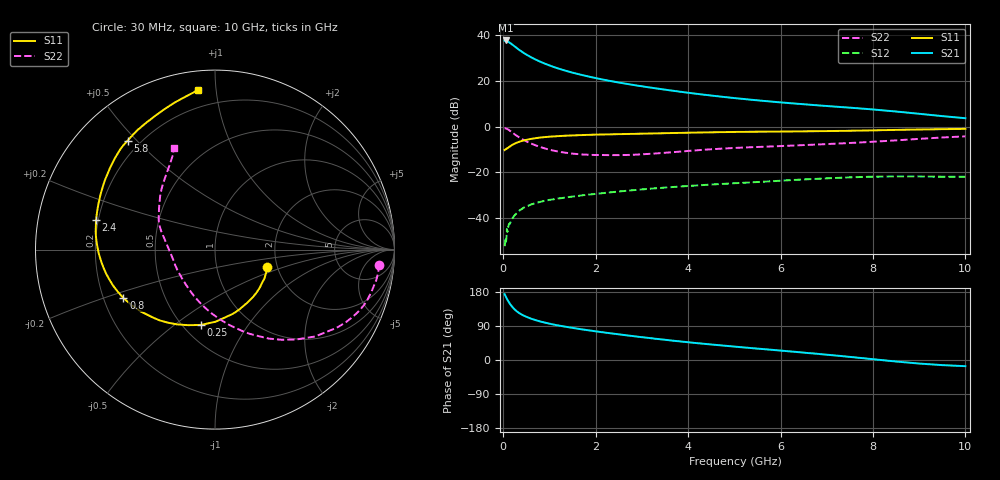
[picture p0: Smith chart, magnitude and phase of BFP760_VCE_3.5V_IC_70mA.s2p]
! Infineon Technologies  Discrete & RF Semiconductors
! BFP760
! VCE =  3.5 V,  IC =  70 mA
! Common Emitter S-Parameters:  Nov 2012
# GHz  S  MA  R  50
!  f  S11  S21  S12  S22
! GHz  MAG  ANG  MAG  ANG  MAG  ANG  MAG  ANG
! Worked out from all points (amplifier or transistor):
!   99 points, 30 MHz to 10 GHz, reference 50 ohm
!   highest |S21| = 37.8 dB at 50 MHz (marker M1)
!   |S21| within 3 dB of that: start of sweep to 273.6 MHz
!   unconditionally stable (mu >= 1): 3.211 GHz to end of sweep
!   at 350 MHz: K = 0.45, MSG = 35.2 dB, |S12| = -36.8 dB
!   at 3.5 GHz: K = 1.02, MAG = 20.6 dB, |S12| = -26.7 dB
!   at 10 GHz: K = 1.03, MAG = 11.7 dB, |S12| = -22.0 dB
!   S11 on the Smith chart (normalised r, x): 30 MHz: 1.77, -0.38; 250 MHz: 0.61, -0.63; 800 MHz: 0.28, -0.23; 2.4 GHz: 0.19, +0.12; 5.8 GHz: 0.15, +0.47; 10 GHz: 0.10, +0.89
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0.03  0.3072 -18.6  76.5 173.8  0.0024 79.6  0.9169 -5.2
0.04  0.3124 -24.3  76.67 171.6  0.0028 79.4  0.9181 -7.9
0.05  0.3191 -30.4  77.62 168.6  0.0035 54.7  0.9146 -10.7
0.07  0.3275 -40.4  76.83 163.7  0.0037 78.2  0.9024 -15.3
0.1  0.3423 -55.2  73.57 157.0  0.0057 70.9  0.8749 -22.6
0.15  0.3718 -74.7  68.36 147.5  0.0077 67.6  0.8058 -32.7
0.2  0.4016 -89.4  62.53 139.5  0.0098 64.0  0.7391 -40.9
0.25  0.4267 -100.5  57.36 133.1  0.0116 59.6  0.6766 -47.7
0.3  0.4469 -109.5  52.36 127.8  0.0129 58.6  0.625 -53.5
0.35  0.4674 -117.0  47.82 123.5  0.0145 55.8  0.5799 -58.8
0.45  0.5011 -128.2  40.87 116.7  0.0169 52.7  0.507 -67.7
0.6  0.5393 -140.4  33.37 109.2  0.0196 49.5  0.4279 -79.2
0.8  0.5772 -152.1  26.58 101.7  0.0224 46.1  0.3589 -92.3
1.2  0.6218 -167.7  18.75 91.0  0.0267 43.4  0.2839 -114.3
1.7  0.6539 179.2  13.6 80.9  0.0312 42.6  0.2458 -135.6
2.4  0.6823 166.2  9.685 69.3  0.037 42.2  0.2381 -158.5
3.4  0.7158 151.1  6.692 54.7  0.0453 40.4  0.2633 176.8
5.1  0.7682 133.4  4.139 34.3  0.0582 35.9  0.3453 154.6
5.8  0.7781 128.7  3.547 27.0  0.0636 34.0  0.3683 148.1
6.7  0.7948 122.4  2.992 17.4  0.0712 30.1  0.4025 140.3
8.5  0.8493 105.4  2.149 -4.0  0.0812 18.0  0.5005 122.8
10  0.895 96.2  1.53 -16.3  0.0798 12.4  0.6139 112.1
